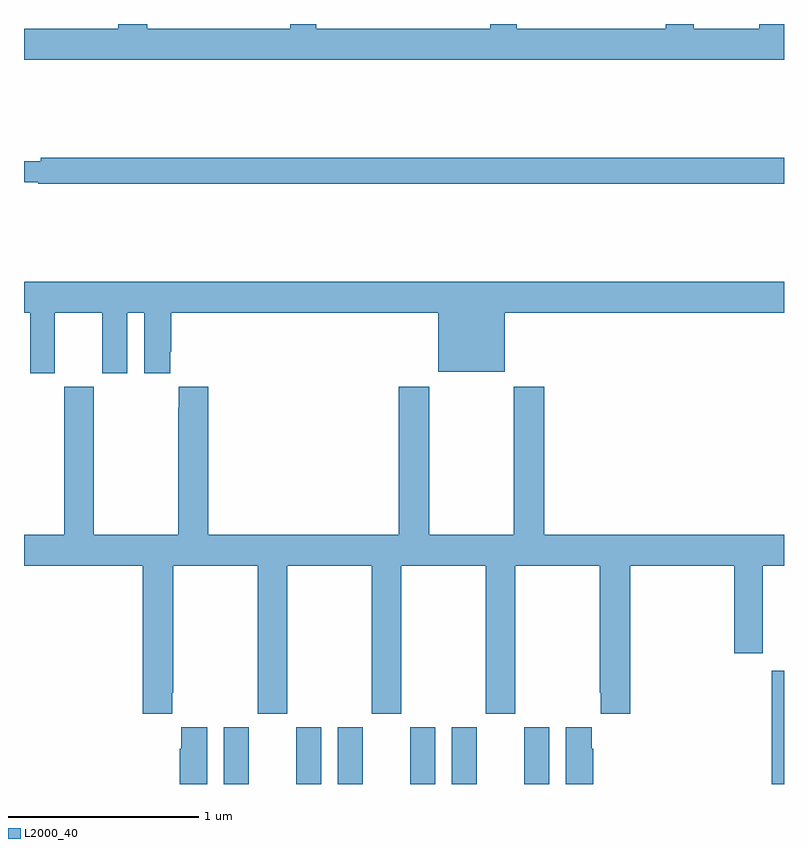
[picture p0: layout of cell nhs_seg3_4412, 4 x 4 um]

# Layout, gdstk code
import gdstk
lib = gdstk.Library(unit=1e-6, precision=1e-09)
def R(c, l, rs):  # rectangles x0, y0, x1, y1
    for r in rs: c.add(gdstk.rectangle(r[:2], r[2:], *l))
def P(c, l, *ps):  # polygons
    for p in ps: c.add(gdstk.Polygon(p, *l))
L2000_40 = (2000, 40)

nhs_seg3_4412 = lib.new_cell('nhs_seg3_4412')
R(nhs_seg3_4412, L2000_40, [(346.052,734.4,346.183,734.698), (346.433,734.4,346.564,734.698), (346.652,734.4,346.783,734.698), (347.033,734.4,347.164,734.698), (347.252,734.4,347.383,734.698), (347.633,734.4,347.764,734.698), (348.935,734.4,349,734.995)])
P(nhs_seg3_4412, L2000_40, [(349,738.4),(348.869,738.4),(348.869,738.376),(348.525,738.376),(348.525,738.4),(348.377,738.4),(348.377,738.376),(347.593,738.376),(347.593,738.4),(347.453,738.4),(347.453,738.376),(346.539,738.376),(346.539,738.4),(346.401,738.4),(346.401,738.376),(345.649,738.376),(345.649,738.4),(345.497,738.4),(345.497,738.376),(345,738.376),(345,738.212),(349,738.212)],
  [(349,737.696),(345.088,737.696),(345.088,737.677),(345,737.677),(345,737.568),(345.074,737.568),(345.074,737.56),(349,737.56)],
  [(345.163,736.88),(345.413,736.88),(345.413,736.563),(345.544,736.563),(345.544,736.88),(345.632,736.88),(345.632,736.563),(345.769,736.563),(345.769,736.675),(345.776,736.675),(345.776,736.88),(347.18,736.88),(347.18,736.571),(347.53,736.571),(347.53,736.88),(349,736.88),(349,737.044),(345,737.044),(345,736.88),(345.032,736.88),(345.032,736.563),(345.163,736.563)],
  [(345.781,734.881),(345.786,734.881),(345.786,735.548),(346.231,735.548),(346.231,734.769),(346.386,734.769),(346.386,735.548),(346.831,735.548),(346.831,734.769),(346.986,734.769),(346.986,735.548),(347.431,735.548),(347.431,734.769),(347.586,734.769),(347.586,735.548),(348.031,735.548),(348.031,734.881),(348.035,734.881),(348.035,734.769),(348.191,734.769),(348.191,735.548),(348.737,735.548),(348.737,735.087),(348.889,735.087),(348.889,735.548),(349,735.548),(349,735.712),(347.738,735.712),(347.738,736.492),(347.578,736.492),(347.578,735.712),(347.133,735.712),(347.133,736.492),(346.973,736.492),(346.973,735.712),(345.971,735.712),(345.971,736.492),(345.815,736.492),(345.815,736.379),(345.811,736.379),(345.811,735.712),(345.366,735.712),(345.366,736.492),(345.211,736.492),(345.211,735.712),(345,735.712),(345,735.548),(345.626,735.548),(345.626,734.769),(345.781,734.769)],
  [(345.964,734.698),(345.827,734.698),(345.827,734.585),(345.821,734.585),(345.821,734.4),(345.964,734.4)],
  [(347.996,734.585),(347.989,734.585),(347.989,734.698),(347.852,734.698),(347.852,734.4),(347.996,734.4)])

lib.write_gds('nhs_seg3_4412.gds')
